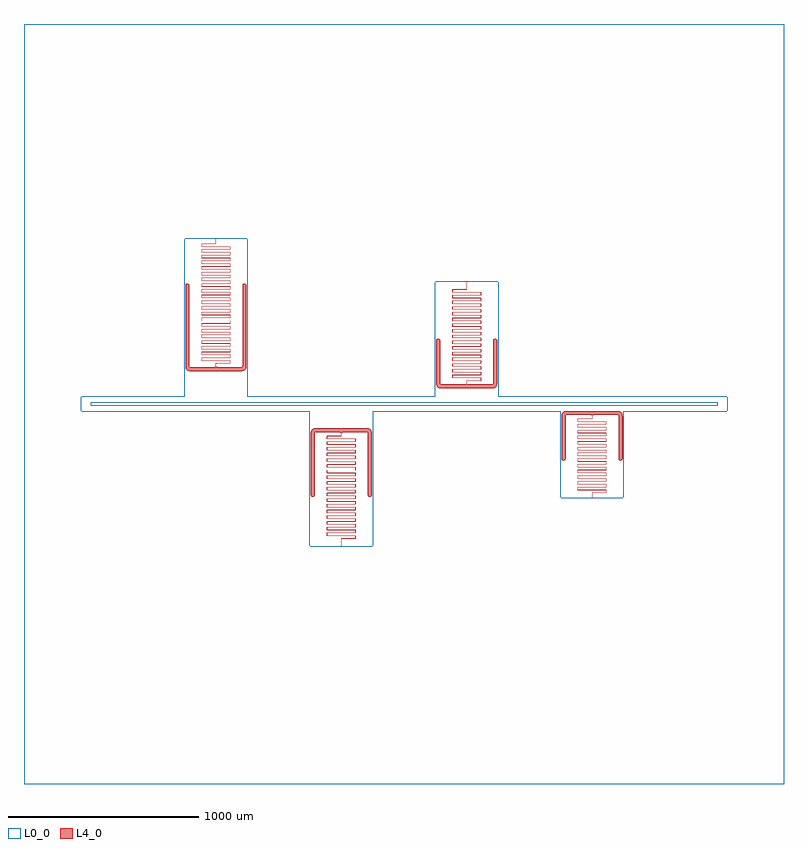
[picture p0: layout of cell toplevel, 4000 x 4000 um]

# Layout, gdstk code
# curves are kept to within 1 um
import gdstk
lib = gdstk.Library(unit=1e-6, precision=1e-09)
def R(c, l, rs):  # rectangles x0, y0, x1, y1
    for r in rs: c.add(gdstk.rectangle(r[:2], r[2:], *l))
def P(c, l, *ps):  # polygons
    for p in ps: c.add(gdstk.Polygon(p, *l))
L0_0 = (0, 0)
L4_0 = (4, 0)

toplevel = lib.new_cell('toplevel')
R(toplevel, L0_0, [(-1650,-10,1650,10)])
P(toplevel, L0_0, [(2000,-2000),(2000,2000),(-2000,2000),(-2000,-37.5),(-1700,-37.5),(-1700,37.5),(-1155,37.5),(-1155,868.5),(-825,868.5),(-825,37.5),(165,37.5),(165,642.833),(495,642.833),(495,37.5),(1700,37.5),(1700,-37.5),(1155,-37.5),(1155,-492.5),(825,-492.5),(825,-37.5),(-165,-37.5),(-165,-748.167),(-495,-748.167),(-495,-37.5),(-1700,-37.5),(-2000,-37.5),(-2000,-2000)])
P(toplevel, L4_0, [(-858.256,173.5),(-847.018,174.652),(-838.664,178.765),(-832.925,185.852),(-830.25,195.469),(-830,438.861),(-850,438.861),(-850.028,199.36),(-851.06,194.461),(-857.931,193.5),(-980,193.5),(-989.7,198.5),(-989.291,213.175),(-915.361,213.305),(-914.703,214.388),(-914.702,227.589),(-915.584,228.762),(-1064.666,229.171),(-1064.696,242.609),(-1064.132,243.195),(-914.928,243.636),(-914.704,257.63),(-915.73,258.785),(-1063.888,258.8),(-1064.7,259.606),(-1064.176,273.191),(-914.961,273.594),(-914.707,287.683),(-915.755,288.787),(-1063.94,288.8),(-1064.7,289.591),(-1064.184,303.19),(-915.035,303.513),(-914.707,317.683),(-915.755,318.787),(-1063.94,318.8),(-1064.7,319.591),(-1064.184,333.19),(-915.118,333.442),(-914.707,347.683),(-915.755,348.787),(-1063.935,348.8),(-1064.7,349.591),(-1064.184,363.19),(-915.211,363.379),(-914.702,377.56),(-915.755,378.787),(-1063.935,378.8),(-1064.699,379.48),(-1064.184,393.19),(-915.407,393.287),(-914.706,394.346),(-914.702,407.56),(-915.755,408.787),(-1063.935,408.8),(-1064.699,409.476),(-1064.184,423.19),(-915.571,423.241),(-914.706,424.34),(-914.702,437.56),(-916.111,438.8),(-1065.195,438.861),(-1063.964,438.2),(-915.428,438.03),(-915.798,423.812),(-1063.888,423.8),(-1064.959,423.492),(-1065.3,422.404),(-1065.287,409.249),(-1064.251,408.213),(-915.458,408.061),(-915.798,393.812),(-1063.888,393.8),(-1064.959,393.492),(-1065.3,392.404),(-1065.295,379.352),(-1064.251,378.213),(-915.535,378.115),(-915.798,363.812),(-1063.888,363.8),(-1064.959,363.492),(-1065.3,362.404),(-1065.289,349.274),(-1064.251,348.213),(-915.686,348.17),(-915.605,333.854),(-1064.245,333.787),(-1065.292,332.683),(-1065.3,319.59),(-1063.97,318.2),(-915.815,318.19),(-915.466,303.932),(-1064.245,303.787),(-1065.292,302.683),(-1065.3,289.59),(-1063.97,288.2),(-915.815,288.19),(-915.433,273.964),(-1064.251,273.787),(-1065.294,272.666),(-1065.3,259.596),(-1064.987,258.535),(-1063.888,258.2),(-915.85,258.193),(-915.303,257.595),(-915.3,244.612),(-916.112,243.8),(-1064.238,243.788),(-1065.294,242.653),(-1065.3,229.611),(-1064.982,228.53),(-1063.888,228.2),(-915.811,228.19),(-915.45,213.946),(-989.481,213.746),(-990.296,212.612),(-990.3,198.5),(-1000,193.5),(-1122.878,193.504),(-1128.976,194.489),(-1129.998,200.94),(-1130,438.861),(-1150,438.861),(-1149.965,198.829),(-1147.945,187.792),(-1145.619,183.373),(-1142.507,179.761),(-1134.471,175.103),(-1124.255,173.524)],
  [(-1064.433,438.869),(-1064.631,439.067),(-1064.699,439.471),(-1064.698,452.567),(-1064.572,453.03),(-1064.184,453.19),(-916.036,453.2),(-915.526,453.252),(-915.142,453.424),(-914.875,453.718),(-914.73,454.129),(-914.707,467.677),(-914.797,468.119),(-915.008,468.459),(-915.328,468.681),(-915.755,468.787),(-1063.935,468.8),(-1064.476,468.891),(-1064.678,469.229),(-1064.698,482.567),(-1064.572,483.03),(-1064.184,483.19),(-916.036,483.2),(-915.532,483.25),(-915.148,483.42),(-914.883,483.705),(-914.733,484.11),(-914.707,497.677),(-914.797,498.119),(-915.008,498.459),(-915.328,498.681),(-915.755,498.787),(-1063.935,498.8),(-1064.471,498.888),(-1064.675,499.213),(-1064.698,512.567),(-1064.572,513.03),(-1064.184,513.19),(-916.036,513.2),(-915.532,513.25),(-915.155,513.415),(-914.887,513.699),(-914.737,514.091),(-914.707,527.678),(-914.797,528.119),(-915.008,528.459),(-915.328,528.681),(-915.755,528.787),(-1063.935,528.8),(-1064.468,528.887),(-1064.673,529.202),(-1064.698,542.567),(-1064.572,543.03),(-1064.18,543.191),(-916.041,543.2),(-915.545,543.247),(-915.167,543.407),(-914.898,543.68),(-914.743,544.065),(-914.707,557.678),(-914.797,558.119),(-915.008,558.459),(-915.328,558.681),(-915.755,558.787),(-1063.93,558.8),(-1064.46,558.882),(-1064.67,559.186),(-1064.698,572.567),(-1064.572,573.03),(-1064.18,573.191),(-916.041,573.2),(-915.552,573.245),(-915.18,573.398),(-914.907,573.667),(-914.749,574.039),(-914.707,587.678),(-914.797,588.119),(-915.008,588.459),(-915.328,588.681),(-915.755,588.787),(-1063.93,588.8),(-1064.454,588.879),(-1064.665,589.168),(-1064.698,602.567),(-1064.572,603.03),(-1064.18,603.191),(-916.041,603.2),(-915.558,603.244),(-915.192,603.39),(-914.92,603.648),(-914.757,604.006),(-914.707,617.672),(-914.795,618.112),(-915.002,618.453),(-915.328,618.681),(-915.755,618.787),(-1063.93,618.8),(-1064.445,618.875),(-1064.66,619.15),(-1064.698,632.563),(-1064.572,633.03),(-1064.18,633.191),(-916.041,633.2),(-915.205,633.383),(-914.937,633.624),(-914.768,633.967),(-914.7,634.547),(-914.707,647.672),(-914.795,648.112),(-915.002,648.453),(-915.328,648.681),(-915.755,648.787),(-1063.93,648.8),(-1064.436,648.871),(-1064.654,649.129),(-1064.698,662.563),(-1064.572,663.03),(-1064.18,663.191),(-916.047,663.2),(-915.231,663.368),(-914.961,663.593),(-914.783,663.921),(-914.7,664.541),(-914.707,677.672),(-914.795,678.112),(-915.002,678.453),(-915.328,678.681),(-915.755,678.787),(-1063.925,678.8),(-1064.421,678.864),(-1064.645,679.102),(-1064.698,692.563),(-1064.572,693.03),(-1064.18,693.191),(-916.047,693.2),(-915.25,693.357),(-914.981,693.57),(-914.802,693.868),(-914.7,694.53),(-914.706,707.665),(-914.795,708.112),(-915.002,708.453),(-915.328,708.681),(-915.755,708.787),(-1063.925,708.8),(-1064.405,708.858),(-1064.633,709.073),(-1064.7,709.55),(-1064.698,722.558),(-1064.574,723.028),(-1064.18,723.191),(-916.052,723.2),(-915.283,723.34),(-914.831,723.802),(-914.7,724.519),(-914.706,737.659),(-914.795,738.112),(-915.002,738.453),(-915.328,738.681),(-915.755,738.787),(-1063.92,738.8),(-1064.385,738.85),(-1064.618,739.04),(-1064.7,739.54),(-1064.698,752.558),(-1064.574,753.028),(-1064.18,753.191),(-916.058,753.2),(-915.328,753.319),(-914.871,753.724),(-914.7,754.503),(-914.706,767.653),(-914.792,768.106),(-915.002,768.453),(-915.328,768.681),(-915.755,768.787),(-1063.92,768.8),(-1064.361,768.843),(-1064.596,769.003),(-1064.7,769.53),(-1064.698,782.553),(-1064.574,783.028),(-1064.18,783.191),(-916.063,783.2),(-915.388,783.295),(-914.937,783.624),(-914.76,783.993),(-914.701,784.48),(-914.705,797.642),(-914.79,798.099),(-914.997,798.448),(-915.322,798.678),(-915.749,798.787),(-1063.914,798.8),(-1064.328,798.834),(-1064.565,798.962),(-1064.7,799.52),(-1064.699,812.544),(-1064.575,813.025),(-1064.18,813.191),(-916.074,813.2),(-915.473,813.266),(-915.047,813.502),(-914.79,813.901),(-914.701,814.452),(-914.704,827.618),(-914.785,828.086),(-914.991,828.442),(-915.315,828.675),(-915.749,828.787),(-1063.909,828.8),(-1064.514,828.916),(-1064.654,829.129),(-1064.699,829.5),(-1064.699,842.505),(-1064.602,842.987),(-1064.287,843.175),(-991.069,843.2),(-990.257,843.354),(-989.843,843.776),(-989.701,844.457),(-989.7,868.5),(-990.3,868.5),(-990.3,844.52),(-990.355,844.102),(-990.535,843.885),(-991.08,843.8),(-1064.416,843.761),(-1064.795,843.617),(-1065.067,843.37),(-1065.236,843.02),(-1065.298,842.571),(-1065.298,829.429),(-1065.184,828.835),(-1064.864,828.428),(-1064.461,828.249),(-1063.92,828.2),(-915.82,828.191),(-915.425,828.025),(-915.301,827.539),(-915.3,814.51),(-915.456,813.941),(-916.091,813.8),(-1064.251,813.787),(-1064.685,813.675),(-1065.008,813.442),(-1065.213,813.092),(-1065.296,812.63),(-1065.299,799.463),(-1065.226,798.947),(-1065.014,798.564),(-1064.573,798.281),(-1063.931,798.2),(-915.82,798.191),(-915.425,798.025),(-915.302,797.548),(-915.3,784.525),(-915.418,783.984),(-915.653,783.839),(-916.086,783.8),(-1064.245,783.787),(-1064.678,783.678),(-1065.003,783.448),(-1065.21,783.099),(-1065.295,782.648),(-1065.299,769.491),(-1065.25,769.032),(-1065.097,768.673),(-1064.645,768.308),(-1063.937,768.2),(-915.82,768.191),(-915.426,768.028),(-915.302,767.553),(-915.3,754.54),(-915.391,754.024),(-915.625,753.847),(-916.08,753.8),(-1064.245,753.787),(-1064.671,753.681),(-1064.998,753.453),(-1065.205,753.112),(-1065.294,752.659),(-1065.3,739.508),(-1065.15,738.763),(-1064.698,738.331),(-1063.948,738.2),(-915.82,738.191),(-915.426,738.028),(-915.302,737.558),(-915.3,724.545),(-915.373,724.058),(-915.602,723.855),(-916.075,723.8),(-1064.245,723.787),(-1064.671,723.681),(-1064.998,723.453),(-1065.205,723.112),(-1065.294,722.665),(-1065.3,709.525),(-1065.184,708.835),(-1064.73,708.347),(-1063.948,708.2),(-915.82,708.191),(-915.426,708.028),(-915.302,707.558),(-915.36,694.089),(-915.586,693.861),(-916.075,693.8),(-1064.245,693.787),(-1064.671,693.681),(-1064.998,693.453),(-1065.205,693.112),(-1065.294,692.665),(-1065.3,679.536),(-1065.208,678.894),(-1065.029,678.582),(-1064.763,678.364),(-1063.953,678.2),(-915.82,678.191),(-915.428,678.03),(-915.302,677.563),(-915.35,664.115),(-915.573,663.867),(-916.075,663.8),(-1064.245,663.787),(-1064.671,663.681),(-1064.998,663.453),(-1065.205,663.112),(-1065.293,662.672),(-1065.3,649.547),(-1065.226,648.947),(-1065.053,648.612),(-1064.782,648.375),(-1063.953,648.2),(-915.82,648.191),(-915.428,648.03),(-915.302,647.563),(-915.343,634.139),(-915.561,633.872),(-916.07,633.8),(-1064.245,633.787),(-1064.671,633.681),(-1064.998,633.453),(-1065.205,633.112),(-1065.293,632.672),(-1065.238,618.987),(-1065.072,618.636),(-1064.801,618.387),(-1064.435,618.243),(-1063.959,618.2),(-915.82,618.191),(-915.428,618.03),(-915.302,617.563),(-915.337,604.16),(-915.549,603.878),(-916.07,603.8),(-1064.245,603.787),(-1064.671,603.681),(-1064.992,603.459),(-1065.203,603.119),(-1065.293,602.677),(-1065.246,589.019),(-1065.085,588.655),(-1064.814,588.394),(-1064.441,588.244),(-1063.959,588.2),(-915.82,588.191),(-915.428,588.03),(-915.302,587.567),(-915.332,574.179),(-915.543,573.881),(-916.07,573.8),(-1064.245,573.787),(-1064.671,573.681),(-1064.992,573.459),(-1065.203,573.119),(-1065.293,572.678),(-1065.254,559.052),(-1065.097,558.673),(-1064.827,558.403),(-1064.454,558.247),(-1063.959,558.2),(-915.82,558.191),(-915.428,558.03),(-915.302,557.567),(-915.329,544.194),(-915.535,543.885),(-916.065,543.8),(-1064.245,543.787),(-1064.671,543.681),(-1064.992,543.459),(-1065.203,543.119),(-1065.293,542.678),(-1065.26,529.078),(-1065.105,528.686),(-1064.839,528.411),(-1064.461,528.249),(-1063.964,528.2),(-915.815,528.19),(-915.428,528.03),(-915.302,527.567),(-915.325,514.209),(-915.529,513.888),(-916.065,513.8),(-1064.245,513.787),(-1064.671,513.681),(-1064.992,513.459),(-1065.203,513.119),(-1065.293,512.677),(-1065.264,499.097),(-1065.113,498.699),(-1064.845,498.415),(-1064.468,498.25),(-1063.964,498.2),(-915.815,498.19),(-915.428,498.03),(-915.302,497.567),(-915.323,484.221),(-915.526,483.89),(-916.065,483.8),(-1064.245,483.787),(-1064.671,483.681),(-1064.992,483.459),(-1065.203,483.119),(-1065.293,482.677),(-1065.269,469.123),(-1065.121,468.711),(-1064.852,468.42),(-1064.468,468.25),(-1063.964,468.2),(-915.815,468.19),(-915.428,468.03),(-915.302,467.567),(-915.321,454.233),(-915.521,453.893),(-916.065,453.8),(-1064.245,453.787),(-1064.717,453.66),(-1065.058,453.382),(-1065.25,452.968),(-1065.3,452.404),(-1065.294,439.334),(-1065.195,438.861)],
  [(-1130,623.5),(-1132.627,630.256),(-1139.564,633.49),(-1146.756,630.873),(-1149.962,624.372),(-1150,438.861),(-1130,438.861)],
  [(-830,623.5),(-832.627,630.256),(-839.564,633.49),(-846.756,630.873),(-849.962,624.372),(-850,438.861),(-830,438.861)],
  [(-479.564,-488.157),(-472.929,-485.238),(-470.038,-479.038),(-470,-348.778),(-490,-348.778),(-489.962,-479.038),(-486.428,-485.827)],
  [(-329.7,-709.216),(-329.561,-708.624),(-329.044,-708.468),(-255.584,-708.428),(-255.211,-708.288),(-254.937,-708.043),(-254.768,-707.7),(-254.702,-707.255),(-254.701,-694.113),(-254.868,-693.397),(-255.348,-692.977),(-256.074,-692.867),(-404.18,-692.857),(-404.575,-692.692),(-404.699,-692.21),(-404.7,-679.186),(-404.648,-678.778),(-404.494,-678.569),(-403.914,-678.467),(-255.749,-678.453),(-255.322,-678.345),(-254.997,-678.114),(-254.79,-677.766),(-254.705,-677.308),(-254.701,-664.147),(-254.792,-663.561),(-255.082,-663.138),(-255.532,-662.917),(-256.063,-662.867),(-404.18,-662.857),(-404.574,-662.694),(-404.698,-662.22),(-404.7,-649.196),(-404.554,-648.617),(-404.321,-648.499),(-403.92,-648.467),(-255.755,-648.454),(-255.328,-648.348),(-255.002,-648.12),(-254.792,-647.772),(-254.706,-647.32),(-254.7,-634.169),(-254.766,-633.64),(-254.961,-633.26),(-255.401,-632.956),(-256.058,-632.867),(-404.18,-632.857),(-404.574,-632.694),(-404.698,-632.225),(-404.7,-619.206),(-404.599,-618.675),(-404.343,-618.504),(-403.92,-618.467),(-255.755,-618.454),(-255.328,-618.348),(-255.002,-618.12),(-254.795,-617.779),(-254.706,-617.326),(-254.7,-604.186),(-254.871,-603.391),(-255.361,-602.972),(-256.052,-602.867),(-404.18,-602.857),(-404.574,-602.694),(-404.698,-602.225),(-404.7,-589.216),(-404.615,-588.701),(-404.361,-588.509),(-403.925,-588.467),(-255.755,-588.454),(-255.328,-588.348),(-255.002,-588.12),(-254.795,-587.779),(-254.706,-587.332),(-254.7,-574.197),(-254.837,-573.456),(-255.041,-573.174),(-255.328,-572.985),(-256.047,-572.867),(-404.18,-572.857),(-404.572,-572.696),(-404.698,-572.229),(-404.7,-559.221),(-404.626,-558.725),(-404.378,-558.515),(-403.925,-558.467),(-255.755,-558.454),(-255.328,-558.348),(-255.002,-558.12),(-254.795,-557.779),(-254.707,-557.338),(-254.7,-544.208),(-254.819,-543.495),(-255.018,-543.196),(-255.309,-542.994),(-256.047,-542.867),(-404.18,-542.857),(-404.572,-542.696),(-404.698,-542.229),(-404.7,-529.227),(-404.637,-528.749),(-404.392,-528.519),(-403.93,-528.467),(-255.755,-528.454),(-255.328,-528.348),(-255.002,-528.12),(-254.795,-527.779),(-254.707,-527.338),(-254.7,-514.214),(-254.8,-513.541),(-254.966,-513.254),(-255.244,-513.027),(-256.041,-512.867),(-404.18,-512.857),(-404.572,-512.696),(-404.698,-512.229),(-404.645,-498.768),(-404.398,-498.522),(-403.93,-498.467),(-255.755,-498.454),(-255.328,-498.348),(-255.002,-498.12),(-254.795,-497.779),(-254.707,-497.338),(-254.7,-484.224),(-254.772,-483.62),(-254.947,-483.278),(-255.192,-483.057),(-255.558,-482.911),(-256.041,-482.867),(-404.18,-482.857),(-404.572,-482.696),(-404.698,-482.234),(-404.665,-468.834),(-404.454,-468.546),(-403.93,-468.467),(-255.755,-468.454),(-255.328,-468.348),(-255.007,-468.126),(-254.797,-467.785),(-254.707,-467.344),(-254.7,-454.23),(-254.776,-453.607),(-254.937,-453.29),(-255.218,-453.042),(-256.041,-452.867),(-404.18,-452.857),(-404.572,-452.696),(-404.698,-452.234),(-404.67,-438.853),(-404.46,-438.549),(-403.93,-438.467),(-255.755,-438.454),(-255.328,-438.348),(-255.007,-438.126),(-254.797,-437.785),(-254.707,-437.344),(-254.755,-423.679),(-254.928,-423.303),(-255.205,-423.049),(-256.041,-422.867),(-404.18,-422.857),(-404.572,-422.696),(-404.698,-422.234),(-404.673,-408.868),(-404.468,-408.553),(-403.935,-408.467),(-255.755,-408.454),(-255.328,-408.348),(-255.007,-408.126),(-254.797,-407.785),(-254.707,-407.344),(-254.75,-393.699),(-254.915,-393.321),(-255.192,-393.057),(-255.584,-392.905),(-256.036,-392.867),(-404.184,-392.857),(-404.572,-392.696),(-404.698,-392.234),(-404.675,-378.88),(-404.471,-378.555),(-403.935,-378.467),(-255.755,-378.454),(-255.328,-378.348),(-255.007,-378.126),(-254.797,-377.785),(-254.707,-377.344),(-254.745,-363.719),(-254.911,-363.328),(-255.148,-363.086),(-255.532,-362.917),(-256.036,-362.867),(-404.184,-362.857),(-404.572,-362.696),(-404.698,-362.234),(-404.648,-348.778),(-405.267,-348.778),(-405.293,-362.344),(-405.203,-362.786),(-404.992,-363.126),(-404.671,-363.348),(-404.245,-363.454),(-256.065,-363.467),(-255.526,-363.556),(-255.323,-363.888),(-255.302,-377.234),(-255.428,-377.696),(-255.815,-377.857),(-403.964,-377.867),(-404.468,-377.917),(-404.845,-378.082),(-405.113,-378.365),(-405.264,-378.764),(-405.293,-392.344),(-405.203,-392.785),(-404.992,-393.126),(-404.671,-393.348),(-404.245,-393.454),(-256.065,-393.467),(-255.529,-393.555),(-255.325,-393.876),(-255.302,-407.234),(-255.428,-407.696),(-255.815,-407.857),(-403.964,-407.867),(-404.461,-407.915),(-404.839,-408.078),(-405.105,-408.353),(-405.26,-408.745),(-405.293,-422.344),(-405.203,-422.785),(-404.992,-423.126),(-404.671,-423.348),(-404.245,-423.454),(-256.065,-423.467),(-255.535,-423.552),(-255.329,-423.861),(-255.302,-437.234),(-255.428,-437.696),(-255.82,-437.857),(-403.959,-437.867),(-404.454,-437.914),(-404.827,-438.069),(-405.097,-438.34),(-405.241,-438.666),(-405.293,-452.344),(-405.203,-452.785),(-404.992,-453.126),(-404.671,-453.348),(-404.245,-453.454),(-256.07,-453.467),(-255.543,-453.547),(-255.347,-453.792),(-255.302,-467.234),(-255.428,-467.696),(-255.82,-467.857),(-403.959,-467.867),(-404.776,-468.038),(-405.058,-468.284),(-405.232,-468.634),(-405.3,-469.224),(-405.293,-482.344),(-405.203,-482.785),(-404.992,-483.126),(-404.671,-483.348),(-404.245,-483.454),(-256.07,-483.467),(-255.595,-483.524),(-255.353,-483.775),(-255.302,-497.229),(-255.428,-497.696),(-255.82,-497.857),(-403.959,-497.867),(-404.763,-498.031),(-405.044,-498.266),(-405.208,-498.561),(-405.3,-499.219),(-405.293,-512.338),(-405.205,-512.779),(-404.998,-513.12),(-404.671,-513.348),(-404.245,-513.454),(-256.07,-513.467),(-255.561,-513.539),(-255.359,-513.759),(-255.302,-527.229),(-255.428,-527.696),(-255.82,-527.857),(-403.953,-527.867),(-404.743,-528.02),(-405.024,-528.242),(-405.21,-528.568),(-405.3,-529.214),(-405.293,-542.338),(-405.205,-542.779),(-404.998,-543.12),(-404.671,-543.348),(-404.245,-543.454),(-256.075,-543.467),(-255.573,-543.533),(-255.368,-543.737),(-255.3,-544.227),(-255.302,-557.229),(-255.428,-557.696),(-255.82,-557.857),(-403.953,-557.867),(-404.685,-557.991),(-404.97,-558.185),(-405.172,-558.476),(-405.3,-559.203),(-405.294,-572.332),(-405.205,-572.779),(-404.998,-573.12),(-404.671,-573.348),(-404.245,-573.454),(-256.075,-573.467),(-255.586,-573.528),(-255.378,-573.716),(-255.3,-574.221),(-255.302,-587.225),(-255.426,-587.694),(-255.82,-587.857),(-403.948,-587.867),(-404.73,-588.013),(-405.146,-588.423),(-405.3,-589.192),(-405.294,-602.332),(-405.205,-602.779),(-404.998,-603.12),(-404.671,-603.348),(-404.245,-603.454),(-256.075,-603.467),(-255.643,-603.508),(-255.393,-603.688),(-255.3,-604.211),(-255.302,-617.225),(-255.426,-617.694),(-255.82,-617.857),(-403.948,-617.867),(-404.619,-617.964),(-405.062,-618.29),(-405.243,-618.673),(-405.3,-619.175),(-405.294,-632.326),(-405.205,-632.779),(-404.998,-633.12),(-404.671,-633.348),(-404.245,-633.454),(-256.08,-633.467),(-255.668,-633.501),(-255.433,-633.631),(-255.3,-634.206),(-255.302,-647.22),(-255.426,-647.694),(-255.82,-647.857),(-403.937,-647.867),(-404.494,-647.923),(-404.959,-648.174),(-405.222,-648.601),(-405.299,-649.158),(-405.295,-662.314),(-405.21,-662.766),(-405.003,-663.114),(-404.678,-663.345),(-404.245,-663.454),(-256.086,-663.467),(-255.486,-663.582),(-255.344,-663.802),(-255.3,-664.191),(-255.302,-677.215),(-255.425,-677.692),(-255.82,-677.857),(-403.931,-677.867),(-404.435,-677.909),(-404.82,-678.065),(-405.184,-678.502),(-405.299,-679.13),(-405.296,-692.296),(-405.213,-692.759),(-405.008,-693.109),(-404.685,-693.342),(-404.251,-693.453),(-255.589,-693.527),(-255.372,-693.727),(-255.3,-694.176),(-255.301,-707.181),(-255.399,-707.656),(-255.713,-707.842),(-328.942,-707.867),(-329.474,-707.918),(-329.864,-708.095),(-330.195,-708.528),(-330.3,-709.175),(-330.3,-748.167),(-329.7,-748.167)],
  [(-179.564,-488.157),(-172.929,-485.238),(-170.038,-479.038),(-170,-348.778),(-190,-348.778),(-189.962,-479.038),(-186.428,-485.827)],
  [(-170,-156.513),(-171.152,-145.185),(-175.37,-136.698),(-182.768,-130.887),(-192.791,-128.34),(-463.447,-128.176),(-472.052,-129.083),(-479.17,-131.933),(-483.621,-135.532),(-486.933,-140.241),(-489.02,-145.85),(-489.928,-152.533),(-490,-348.778),(-470,-348.778),(-469.962,-153.75),(-468.918,-149.111),(-462.152,-148.167),(-340,-148.167),(-330.3,-153.167),(-330.709,-167.841),(-404.639,-167.972),(-405.296,-169.055),(-405.297,-182.255),(-404.307,-183.447),(-255.334,-183.838),(-255.786,-197.854),(-403.888,-197.867),(-405.3,-199.273),(-405.291,-212.368),(-404.202,-213.458),(-255.456,-213.607),(-255.837,-227.859),(-403.888,-227.867),(-405.3,-229.268),(-405.294,-242.32),(-404.245,-243.454),(-255.532,-243.553),(-255.815,-257.857),(-403.888,-257.867),(-405.3,-259.267),(-405.296,-272.29),(-404.269,-273.451),(-255.694,-273.495),(-255.595,-287.809),(-404.269,-287.882),(-405.294,-289.007),(-405.3,-302.071),(-403.888,-303.467),(-255.798,-303.478),(-255.493,-317.756),(-404.245,-317.879),(-405.294,-319.001),(-405.3,-332.071),(-403.888,-333.467),(-255.803,-333.478),(-255.428,-347.696),(-403.964,-347.867),(-405.267,-348.778),(-256.111,-348.467),(-254.7,-347.071),(-254.707,-333.995),(-255.755,-332.879),(-404.572,-332.696),(-404.197,-318.478),(-256.111,-318.467),(-254.7,-317.071),(-254.706,-304.007),(-255.749,-302.88),(-404.542,-302.728),(-404.202,-288.478),(-255.997,-288.466),(-254.7,-287.045),(-254.708,-273.977),(-255.761,-272.879),(-404.457,-272.786),(-404.18,-258.476),(-256.058,-258.467),(-254.7,-257.17),(-254.705,-244.019),(-255.755,-242.879),(-404.267,-242.846),(-404.421,-228.531),(-255.78,-228.456),(-254.707,-227.344),(-254.7,-214.273),(-256.111,-212.867),(-404.15,-212.86),(-404.509,-198.579),(-255.761,-198.454),(-254.706,-197.32),(-254.7,-184.278),(-256.111,-182.867),(-404.189,-182.856),(-404.55,-168.613),(-330.519,-168.413),(-329.704,-167.279),(-329.7,-153.167),(-320,-148.167),(-197.36,-148.169),(-191.108,-149.093),(-190.001,-155.768),(-190,-348.778),(-170,-348.778)],
  [(461.744,82.833),(472.449,83.846),(480.803,87.692),(486.634,94.353),(489.568,103.343),(490,273.55),(470,273.55),(469.944,108.017),(468.862,103.74),(461.901,102.833),(340,102.833),(330.3,107.833),(330.709,122.508),(404.639,122.638),(405.296,123.721),(405.3,136.727),(404.416,138.095),(255.35,138.448),(255.786,152.52),(403.888,152.533),(405.3,153.94),(405.291,167.035),(404.276,168.117),(255.491,168.246),(255.837,182.526),(403.888,182.533),(405.3,183.934),(405.294,196.987),(404.245,198.121),(255.579,198.197),(255.717,212.509),(404.245,212.546),(405.294,213.68),(405.3,226.831),(403.942,228.133),(255.82,228.143),(255.532,242.447),(404.245,242.546),(405.294,243.674),(405.3,256.814),(403.948,258.133),(255.82,258.143),(255.45,272.387),(403.888,272.533),(405.283,273.55),(256.052,273.133),(254.7,271.808),(254.706,258.668),(255.755,257.546),(404.542,257.394),(404.18,243.143),(256.052,243.133),(254.7,241.819),(254.706,228.674),(255.755,227.546),(404.521,227.412),(404.18,213.143),(256.058,213.133),(254.7,211.836),(254.705,198.686),(255.755,197.546),(404.46,197.451),(404.18,183.143),(256.069,183.133),(254.701,181.864),(254.705,168.698),(255.749,167.547),(404.239,167.517),(404.421,153.197),(255.761,153.121),(254.706,151.987),(254.7,138.945),(256.111,137.533),(404.189,137.523),(404.519,123.253),(330.519,123.08),(329.704,121.945),(329.7,107.833),(320,102.833),(197.201,102.837),(191.211,103.695),(190.004,109.955),(190,273.55),(170,273.55),(170.095,106.759),(171.046,100.252),(173.067,94.907),(176.145,90.454),(180.281,86.943),(187.551,83.846),(196.454,82.844)],
  [(405.294,273.668),(405.294,286.999),(405.2,287.459),(404.987,287.798),(404.671,288.015),(404.202,288.124),(256.112,288.133),(255.535,288.218),(255.324,288.55),(255.303,301.924),(255.439,302.375),(255.837,302.526),(403.888,302.533),(404.422,302.573),(404.808,302.724),(405.089,302.994),(405.263,303.424),(405.295,316.981),(405.203,317.452),(404.987,317.798),(404.691,318.006),(404.208,318.124),(256.112,318.133),(255.535,318.218),(255.324,318.55),(255.302,331.91),(255.43,332.365),(255.833,332.525),(403.888,332.533),(404.422,332.573),(404.808,332.724),(405.089,332.994),(405.263,333.424),(405.291,347.035),(405.203,347.452),(404.976,347.809),(404.625,348.034),(404.22,348.123),(256.112,348.133),(255.538,348.217),(255.325,348.543),(255.301,361.853),(255.414,362.345),(255.807,362.523),(403.959,362.533),(404.442,362.577),(404.808,362.724),(405.08,362.982),(405.243,363.34),(405.293,377.005),(405.205,377.446),(404.998,377.787),(404.671,378.015),(404.245,378.121),(256.07,378.133),(255.549,378.211),(255.337,378.494),(255.302,391.896),(255.428,392.363),(255.82,392.524),(403.959,392.533),(404.435,392.576),(404.801,392.72),(405.071,392.969),(405.238,393.32),(405.293,407.005),(405.205,407.446),(404.998,407.787),(404.671,408.015),(404.245,408.121),(256.07,408.133),(255.561,408.205),(255.343,408.472),(255.302,421.896),(255.428,422.363),(255.82,422.524),(403.953,422.533),(404.782,422.708),(405.053,422.945),(405.226,423.28),(405.3,423.88),(405.293,437.005),(405.205,437.446),(404.998,437.787),(404.671,438.015),(404.245,438.121),(256.075,438.133),(255.573,438.2),(255.35,438.448),(255.302,451.896),(255.428,452.363),(255.82,452.524),(403.953,452.533),(404.763,452.697),(405.029,452.915),(405.208,453.228),(405.3,453.869),(405.294,466.999),(405.205,467.446),(404.998,467.787),(404.671,468.015),(404.245,468.121),(256.075,468.133),(255.586,468.195),(255.36,468.422),(255.302,481.891),(255.426,482.361),(255.82,482.524),(403.948,482.533),(404.73,482.68),(405.184,483.168),(405.3,483.858),(405.294,496.999),(405.205,497.446),(404.998,497.787),(404.671,498.015),(404.245,498.121),(256.075,498.133),(255.602,498.188),(255.373,498.391),(255.3,498.878),(255.302,511.891),(255.426,512.361),(255.82,512.524),(403.948,512.533),(404.698,512.664),(405.15,513.096),(405.3,513.842),(405.294,526.993),(405.205,527.446),(404.998,527.787),(404.671,528.015),(404.245,528.121),(256.08,528.133),(255.625,528.18),(255.391,528.357),(255.3,528.873),(255.302,541.886),(255.426,542.361),(255.82,542.524),(403.937,542.533),(404.645,542.641),(405.097,543.007),(405.25,543.366),(405.299,543.825),(405.295,556.981),(405.21,557.432),(405.003,557.781),(404.678,558.012),(404.245,558.121),(256.086,558.133),(255.653,558.172),(255.418,558.317),(255.3,558.858),(255.302,571.882),(255.425,572.359),(255.82,572.524),(403.931,572.533),(404.573,572.614),(405.014,572.897),(405.226,573.28),(405.299,573.796),(405.296,586.963),(405.213,587.426),(405.008,587.775),(404.685,588.009),(404.251,588.12),(256.091,588.133),(255.456,588.274),(255.3,588.843),(255.301,601.848),(255.399,602.323),(255.713,602.509),(328.942,602.533),(329.474,602.585),(329.864,602.762),(330.195,603.195),(330.3,603.842),(330.3,642.833),(329.7,642.833),(329.7,603.883),(329.658,603.476),(329.514,603.249),(328.925,603.133),(255.584,603.095),(255.211,602.954),(254.937,602.71),(254.768,602.366),(254.702,601.922),(254.701,588.779),(254.792,588.228),(255.047,587.835),(255.473,587.599),(256.074,587.533),(404.18,587.524),(404.575,587.359),(404.699,586.877),(404.7,573.853),(404.565,573.295),(404.328,573.167),(403.914,573.133),(255.749,573.12),(255.322,573.012),(254.997,572.781),(254.79,572.432),(254.705,571.975),(254.701,558.813),(254.76,558.326),(254.937,557.957),(255.388,557.628),(256.063,557.533),(404.18,557.524),(404.574,557.361),(404.698,556.886),(404.7,543.863),(404.596,543.336),(404.361,543.176),(403.92,543.133),(255.755,543.121),(255.328,543.015),(255.002,542.787),(254.792,542.439),(254.706,541.987),(254.7,528.836),(254.871,528.058),(255.328,527.652),(256.058,527.533),(404.18,527.524),(404.574,527.361),(404.698,526.891),(404.7,513.873),(404.618,513.374),(404.385,513.184),(403.92,513.133),(255.755,513.121),(255.328,513.015),(255.002,512.787),(254.795,512.446),(254.706,511.993),(254.7,498.853),(254.831,498.136),(255.283,497.673),(256.052,497.533),(404.18,497.524),(404.574,497.361),(404.698,496.891),(404.7,483.883),(404.633,483.406),(404.405,483.191),(403.925,483.133),(255.755,483.121),(255.328,483.015),(255.002,482.787),(254.795,482.446),(254.706,481.999),(254.7,468.864),(254.802,468.201),(254.981,467.903),(255.25,467.69),(256.047,467.533),(404.18,467.524),(404.572,467.363),(404.698,466.896),(404.645,453.435),(404.421,453.197),(403.925,453.133),(255.755,453.121),(255.328,453.015),(255.002,452.787),(254.795,452.446),(254.707,452.005),(254.7,438.875),(254.783,438.254),(254.961,437.927),(255.231,437.701),(256.047,437.533),(404.18,437.524),(404.572,437.363),(404.698,436.896),(404.654,423.462),(404.436,423.204),(403.93,423.133),(255.755,423.121),(255.328,423.015),(255.002,422.787),(254.795,422.446),(254.707,422.005),(254.7,408.88),(254.768,408.3),(254.937,407.957),(255.205,407.716),(256.041,407.533),(404.18,407.524),(404.572,407.363),(404.698,406.896),(404.66,393.483),(404.445,393.208),(403.93,393.133),(255.755,393.121),(255.328,393.015),(255.002,392.787),(254.795,392.446),(254.707,392.005),(254.757,378.34),(254.92,377.982),(255.192,377.724),(255.558,377.577),(256.041,377.533),(404.18,377.524),(404.572,377.363),(404.698,376.896),(404.663,363.494),(404.451,363.211),(403.93,363.133),(255.755,363.121),(255.355,363.026),(254.997,362.781),(254.802,362.465),(254.706,361.999),(254.753,348.353),(254.924,347.976),(255.199,347.72),(255.584,347.572),(256.111,347.533),(404.171,347.525),(404.575,347.359),(404.698,346.905),(404.676,333.55),(404.465,333.218),(403.888,333.133),(255.786,333.123),(255.381,333.036),(255.029,332.815),(254.805,332.472),(254.71,332.047),(254.737,318.424),(254.911,317.994),(255.192,317.724),(255.578,317.573),(256.111,317.533),(404.167,317.525),(404.565,317.371),(404.697,316.919),(404.676,303.55),(404.465,303.218),(403.888,303.133),(255.792,303.124),(255.315,303.009),(255.024,302.809),(254.822,302.511),(254.712,302.072),(254.736,288.431),(254.911,287.994),(255.192,287.724),(255.578,287.573),(256.111,287.533),(404.158,287.526),(404.555,287.381),(404.697,286.929),(404.676,273.55),(405.283,273.55)],
  [(190,332.833),(187.373,339.589),(181.305,342.748),(174.627,341.267),(170.463,335.84),(170,273.55),(190,273.55)],
  [(490,332.833),(487.373,339.589),(481.305,342.748),(474.627,341.267),(470.463,335.84),(470,273.55),(490,273.55)],
  [(840.436,-297.49),(846.756,-294.873),(849.962,-288.372),(850,-182.932),(830,-182.932),(830.038,-288.372),(833.244,-294.873)],
  [(990.3,-468.52),(990.45,-467.946),(990.976,-467.801),(1064.468,-467.75),(1064.87,-467.567),(1065.121,-467.288),(1065.26,-466.922),(1065.3,-466.388),(1065.294,-453.34),(1065.085,-452.655),(1064.625,-452.3),(1063.92,-452.2),(915.82,-452.191),(915.425,-452.025),(915.301,-451.539),(915.3,-438.51),(915.359,-438.092),(915.503,-437.904),(916.091,-437.8),(1064.251,-437.787),(1064.685,-437.675),(1065.008,-437.442),(1065.213,-437.092),(1065.296,-436.63),(1065.299,-423.463),(1065.184,-422.835),(1064.876,-422.437),(1064.507,-422.26),(1063.931,-422.2),(915.82,-422.191),(915.425,-422.025),(915.302,-421.548),(915.3,-408.525),(915.437,-407.96),(915.653,-407.839),(916.086,-407.8),(1064.245,-407.787),(1064.678,-407.678),(1065.003,-407.448),(1065.21,-407.099),(1065.295,-406.647),(1065.299,-393.491),(1065.236,-392.98),(1065.053,-392.612),(1064.573,-392.281),(1063.937,-392.2),(915.82,-392.191),(915.426,-392.027),(915.302,-391.553),(915.3,-378.54),(915.411,-377.993),(915.625,-377.847),(916.08,-377.8),(1064.245,-377.787),(1064.671,-377.681),(1064.998,-377.453),(1065.205,-377.112),(1065.294,-376.659),(1065.3,-363.508),(1065.11,-362.692),(1064.619,-362.297),(1063.948,-362.2),(915.82,-362.191),(915.426,-362.027),(915.302,-361.558),(915.3,-348.545),(915.393,-348.021),(915.602,-347.855),(916.075,-347.8),(1064.245,-347.787),(1064.671,-347.681),(1064.998,-347.453),(1065.205,-347.112),(1065.294,-346.665),(1065.3,-333.525),(1065.146,-332.757),(1064.942,-332.491),(1064.652,-332.31),(1063.948,-332.2),(915.82,-332.191),(915.426,-332.027),(915.302,-331.558),(915.3,-318.555),(915.378,-318.049),(915.586,-317.861),(916.075,-317.8),(1064.245,-317.787),(1064.671,-317.681),(1064.998,-317.453),(1065.205,-317.112),(1065.294,-316.666),(1065.3,-303.536),(1065.208,-302.894),(1065.029,-302.582),(1064.763,-302.364),(1063.953,-302.2),(915.82,-302.191),(915.428,-302.03),(915.302,-301.563),(915.35,-288.115),(915.573,-287.867),(916.075,-287.8),(1064.245,-287.787),(1064.671,-287.681),(1064.998,-287.453),(1065.205,-287.112),(1065.293,-286.671),(1065.3,-273.547),(1065.21,-272.901),(1065.024,-272.576),(1064.743,-272.353),(1063.953,-272.2),(915.82,-272.191),(915.428,-272.03),(915.302,-271.563),(915.343,-258.139),(915.561,-257.872),(916.07,-257.8),(1064.245,-257.787),(1064.671,-257.681),(1064.998,-257.453),(1065.205,-257.112),(1065.293,-256.671),(1065.238,-242.987),(1065.072,-242.636),(1064.801,-242.387),(1064.435,-242.243),(1063.959,-242.2),(915.82,-242.191),(915.428,-242.03),(915.302,-241.563),(915.337,-228.16),(915.549,-227.878),(916.07,-227.8),(1064.245,-227.787),(1064.671,-227.681),(1064.992,-227.459),(1065.203,-227.119),(1065.293,-226.677),(1065.3,-213.558),(1065.232,-212.967),(1065.058,-212.618),(1064.776,-212.371),(1063.959,-212.2),(915.82,-212.191),(915.428,-212.03),(915.302,-211.567),(915.332,-198.179),(915.543,-197.881),(916.07,-197.8),(1064.245,-197.787),(1064.671,-197.681),(1064.992,-197.459),(1065.203,-197.119),(1065.293,-196.678),(1065.3,-183.563),(1065.221,-182.932),(1064.534,-182.932),(1064.67,-183.186),(1064.7,-183.575),(1064.698,-196.567),(1064.572,-197.03),(1064.18,-197.191),(916.041,-197.2),(915.552,-197.245),(915.18,-197.398),(914.907,-197.667),(914.749,-198.039),(914.707,-211.677),(914.797,-212.119),(915.008,-212.459),(915.328,-212.681),(915.755,-212.787),(1063.93,-212.8),(1064.454,-212.879),(1064.665,-213.168),(1064.698,-226.567),(1064.572,-227.03),(1064.18,-227.191),(916.041,-227.2),(915.558,-227.244),(915.192,-227.39),(914.92,-227.648),(914.772,-227.954),(914.7,-228.558),(914.707,-241.671),(914.795,-242.112),(915.002,-242.453),(915.328,-242.681),(915.755,-242.787),(1063.93,-242.8),(1064.398,-242.855),(1064.645,-243.102),(1064.698,-256.563),(1064.572,-257.03),(1064.18,-257.191),(916.041,-257.2),(915.205,-257.383),(914.937,-257.624),(914.768,-257.967),(914.7,-258.547),(914.707,-271.671),(914.795,-272.112),(915.002,-272.453),(915.328,-272.681),(915.755,-272.787),(1063.93,-272.8),(1064.436,-272.871),(1064.654,-273.129),(1064.698,-286.563),(1064.572,-287.03),(1064.18,-287.191),(916.047,-287.2),(915.231,-287.368),(914.8,-287.875),(914.7,-288.541),(914.707,-301.671),(914.795,-302.112),(915.002,-302.453),(915.328,-302.681),(915.755,-302.787),(1063.925,-302.8),(1064.421,-302.864),(1064.645,-303.102),(1064.698,-316.563),(1064.572,-317.03),(1064.18,-317.191),(916.047,-317.2),(915.328,-317.319),(915.041,-317.507),(914.837,-317.789),(914.7,-318.53),(914.706,-331.666),(914.795,-332.112),(915.002,-332.453),(915.328,-332.681),(915.755,-332.787),(1063.925,-332.8),(1064.361,-332.843),(1064.615,-333.035),(1064.7,-333.55),(1064.698,-346.558),(1064.574,-347.027),(1064.18,-347.191),(916.052,-347.2),(915.361,-347.305),(914.871,-347.724),(914.7,-348.519),(914.706,-361.659),(914.795,-362.112),(915.002,-362.453),(915.328,-362.681),(915.755,-362.787),(1063.92,-362.8),(1064.385,-362.85),(1064.599,-363.008),(1064.7,-363.54),(1064.698,-376.558),(1064.574,-377.027),(1064.18,-377.191),(916.058,-377.2),(915.328,-377.319),(914.915,-377.655),(914.766,-377.973),(914.7,-378.503),(914.706,-391.653),(914.792,-392.106),(915.002,-392.453),(915.328,-392.681),(915.755,-392.787),(1063.92,-392.8),(1064.321,-392.832),(1064.575,-392.975),(1064.7,-393.53),(1064.698,-406.553),(1064.574,-407.027),(1064.18,-407.191),(916.063,-407.2),(915.46,-407.27),(915.029,-407.518),(914.776,-407.94),(914.701,-408.48),(914.705,-421.642),(914.79,-422.099),(914.997,-422.448),(915.322,-422.678),(915.749,-422.787),(1063.914,-422.8),(1064.521,-422.921),(1064.648,-423.112),(1064.7,-423.52),(1064.699,-436.544),(1064.575,-437.025),(1064.18,-437.191),(916.074,-437.2),(915.532,-437.25),(915.186,-437.394),(914.84,-437.783),(914.701,-438.452),(914.704,-451.618),(914.785,-452.086),(914.991,-452.442),(915.315,-452.675),(915.749,-452.787),(1064.411,-452.86),(1064.628,-453.061),(1064.699,-453.5),(1064.699,-466.505),(1064.602,-466.987),(1064.287,-467.175),(991.069,-467.2),(990.257,-467.353),(989.843,-467.776),(989.701,-468.457),(989.7,-492.5),(990.3,-492.5)],
  [(1140.436,-297.49),(1146.756,-294.873),(1149.962,-288.372),(1150,-182.932),(1130,-182.932),(1130.038,-288.372),(1133.244,-294.873)],
  [(1150,-65.846),(1148.848,-54.518),(1144.63,-46.032),(1137.232,-40.22),(1127.558,-37.704),(857.042,-37.504),(844.844,-39.344),(839.063,-42.458),(834.76,-46.832),(831.794,-52.481),(830.25,-59.469),(830,-182.932),(850,-182.932),(850.071,-62.427),(851.161,-58.392),(857.931,-57.5),(980,-57.5),(989.7,-62.5),(989.291,-77.175),(915.361,-77.305),(914.702,-91.589),(915.693,-92.78),(1064.629,-93.064),(1064.189,-107.19),(915.186,-107.394),(914.702,-121.565),(915.761,-122.788),(1064.699,-123.461),(1064.184,-137.19),(915.375,-137.3),(914.702,-151.56),(915.755,-152.787),(1063.935,-152.8),(1064.7,-153.575),(1064.18,-167.191),(915.597,-167.236),(914.702,-168.411),(914.702,-181.56),(916.111,-182.8),(1065.221,-182.932),(1063.959,-182.2),(915.535,-182.115),(915.811,-167.81),(1063.888,-167.8),(1065.3,-166.404),(1065.291,-153.298),(1064.238,-152.212),(915.686,-152.17),(915.576,-137.865),(1064.245,-137.787),(1065.293,-136.678),(1065.3,-123.574),(1063.964,-122.2),(915.82,-122.191),(915.3,-108.622),(916.035,-107.8),(1064.202,-107.791),(1065.292,-106.683),(1065.3,-93.622),(1063.888,-92.2),(915.811,-92.19),(915.518,-77.894),(989.481,-77.746),(990.296,-76.612),(990.3,-62.5),(1000,-57.5),(1122.398,-57.501),(1128.488,-58.21),(1129.604,-59.981),(1129.995,-64.544),(1130,-182.932),(1150,-182.932)])

lib.write_gds('toplevel.gds')
